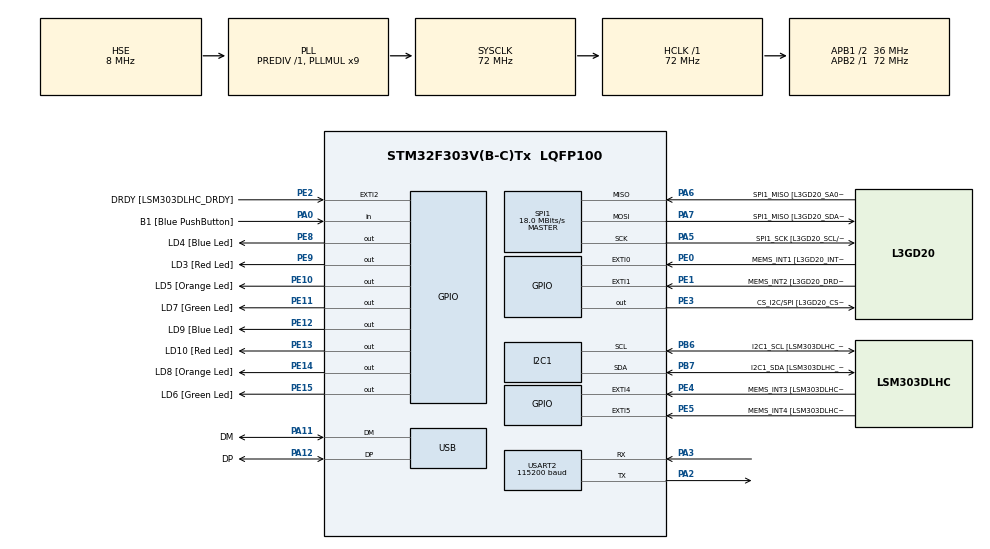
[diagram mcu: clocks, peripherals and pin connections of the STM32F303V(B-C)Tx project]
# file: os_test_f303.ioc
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Mcu.Family=STM32F3
PA6.Mode=Full_Duplex_Master
RCC.CortexFreq_Value=72000000
SPI1.VirtualType=VM_MASTER
PE11.GPIO_Label=LD7 [Green Led]
PA14.GPIO_Label=SWCLK
RCC.SYSCLKSourceVirtual=RCC_SYSCLKSOURCE_PLLCLK
PA0.GPIO_Label=B1 [Blue PushButton]
PA11.Mode=Device
PB6.GPIO_Label=I2C1_SCL [LSM303DLHC_SCL]
PA6.GPIO_Label=SPI1_MISO [L3GD20_SA0/SDO]
PC15-OSC32_OUT.GPIO_Label=OSC32_OUT
ProjectManager.StackSize=0x400
SPI1.Mode-Full_Duplex_Master=SPI_MODE_MASTER
PA12.Signal=USB_DP
SPI1.Direction=SPI_DIRECTION_2LINES
RCC.HCLKFreq_Value=72000000
RCC.APB2TimFreq_Value=72000000
PB6.Signal=I2C1_SCL
PB6.Mode=I2C
SPI1.CalculateBaudRate=18.0 MBits/s
PE5.Signal=GPXTI5
PE1.Signal=GPXTI1
RCC.AHBFreq_Value=72000000
RCC.HSE_VALUE=8000000
PF0-OSC_IN.GPIO_Label=OSC_IN
USART2.VirtualMode-Asynchronous=VM_ASYNC
RCC.PLLMUL=RCC_PLL_MUL9
PE13.Signal=GPIO_Output
PE9.Signal=GPIO_Output
PA14.Mode=Serial_Wire
PE4.GPIO_Label=MEMS_INT3 [LSM303DLHC_INT1]
PE2.Signal=GPXTI2
PB7.Signal=I2C1_SDA
PE10.Signal=GPIO_Output
PE4.Signal=GPXTI4
SPI1.CalculateBaudRate-Full_Duplex_Master=24.0 MBits/s
PA0.Signal=GPIO_Input
PB7.GPIO_Label=I2C1_SDA [LSM303DLHC_SDA]
Mcu.Package=LQFP100
PA6.Signal=SPI1_MISO
PE12.GPIO_Label=LD9 [Blue Led]
PE0.GPIO_Label=MEMS_INT1 [L3GD20_INT1]
RCC.APB1TimFreq_Value=72000000
PC14-OSC32_IN.GPIO_Label=OSC32_IN
TIM16.Prescaler=7200 - 1
PE10.GPIO_Label=LD5 [Orange Led]
SPI1.BaudRatePrescaler=SPI_BAUDRATEPRESCALER_4
PE2.GPIO_Label=DRDY [LSM303DLHC_DRDY]
PF1-OSC_OUT.Signal=RCC_OSC_OUT
PA3.Signal=USART2_RX
PA5.Mode=Full_Duplex_Master
PB3.GPIO_Label=SWO
PA7.Mode=Full_Duplex_Master
PE4.GPIO_ModeDefaultEXTI=GPIO_MODE_EVT_RISING
PA11.GPIO_Label=DM
PE14.GPIO_Label=LD8 [Orange Led]
VP_TIM16_VS_ClockSourceINT.Mode=Enable_Timer
PE1.GPIO_ModeDefaultEXTI=GPIO_MODE_EVT_RISING
RCC.APB1CLKDivider=RCC_HCLK_DIV2
PC14-OSC32_IN.Signal=RCC_OSC32_IN
NVIC.USART2_IRQn=true\:0\:0\:false\:false\:true\:true\:true
USART2.BaudRate=115200
PA12.GPIO_Label=DP
PA3.Mode=Asynchronous
PA13.Signal=SYS_JTMS-SWDIO
PE15.GPIO_Label=LD6 [Green Led]
ProjectManager.TargetToolchain=STM32CubeIDE
PE5.GPIO_ModeDefaultEXTI=GPIO_MODE_EVT_RISING
PE0.GPIO_ModeDefaultEXTI=GPIO_MODE_EVT_RISING
PE8.GPIO_Label=LD4 [Blue Led]
RCC.USBFreq_Value=48000000
PE11.Signal=GPIO_Output
RCC.LSE_VALUE=32768
PC15-OSC32_OUT.Signal=RCC_OSC32_OUT
PE9.GPIO_Label=LD3 [Red Led]
PF0-OSC_IN.Mode=HSE-External-Clock-Source
PA5.Signal=SPI1_SCK
board=STM32F3DISCOVERY
PE1.GPIO_Label=MEMS_INT2 [L3GD20_DRDY/INT2]
TIM16.Period=10 - 1
RCC.APB2Freq_Value=72000000
PE14.Signal=GPIO_Output
PE15.Signal=GPIO_Output
RCC.PRESCALERUSB=RCC_USBCLKSOURCE_PLL_DIV1_5
PE8.Signal=GPIO_Output
SPI1.Mode=SPI_MODE_MASTER
PF1-OSC_OUT.GPIO_Label=OSC_OUT
I2C1.Timing-I2C=0x2000090E
PA13.Mode=Serial_Wire
Mcu.Name=STM32F303V(B-C)Tx
PE0.Signal=GPXTI0
PE12.Signal=GPIO_Output
PA2.Signal=USART2_TX
PA13.GPIO_Label=SWDIO
PB3.Signal=SYS_JTDO-TRACESWO
RCC.SYSCLKFreq_VALUE=72000000
PA7.GPIO_Label=SPI1_MISO [L3GD20_SDA/SDI/SDO]
PE13.GPIO_Label=LD10 [Red Led]
PA12.Mode=Device
PA5.GPIO_Label=SPI1_SCK [L3GD20_SCL/SPC]
PE5.GPIO_Label=MEMS_INT4 [LSM303DLHC_INT2]
PB7.Mode=I2C
PA11.Signal=USB_DM
PA14.Signal=SYS_JTCK-SWCLK
ProjectManager.HeapSize=0x200
RCC.HSI_VALUE=8000000
NVIC.TIM1_UP_TIM16_IRQn=true\:0\:0\:false\:false\:true\:true\:true
NVIC.PriorityGroup=NVIC_PRIORITYGROUP_0
PE3.Signal=GPIO_Output
PA2.Mode=Asynchronous
PE3.GPIO_Label=CS_I2C/SPI [L3GD20_CS_I2C/SPI]
PE2.GPIO_ModeDefaultEXTI=GPIO_MODE_EVT_RISING
PF0-OSC_IN.Signal=RCC_OSC_IN
RCC.APB1Freq_Value=36000000
SPI1.BaudRatePrescaler-Full_Duplex_Master=SPI_BAUDRATEPRESCALER_2
PA7.Signal=SPI1_MOSI

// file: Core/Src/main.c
/* USER CODE BEGIN Header */
/**
  ******************************************************************************
  * @file           : main.c
  * @brief          : Main program body
  ******************************************************************************
  * @attention
  *
  * <h2><center>&copy; Copyright (c) 2021 STMicroelectronics.
  * All rights reserved.</center></h2>
  *
  * This software component is licensed by ST under BSD 3-Clause license,
  * the "License"; You may not use this file except in compliance with the
  * License. You may obtain a copy of the License at:
  *                        opensource.org/licenses/BSD-3-Clause
  *
  ******************************************************************************
  */
/* USER CODE END Header */
#include "main.h"

/* USER CODE BEGIN Includes */
#include "os.h"
/* USER CODE END Includes */

I2C_HandleTypeDef hi2c1;

SPI_HandleTypeDef hspi1;

TIM_HandleTypeDef htim16;

UART_HandleTypeDef huart2;

PCD_HandleTypeDef hpcd_USB_FS;

/* USER CODE BEGIN PV */

int32_t TaskSdata=0;

void TaskS(void){ // producer as event thread every 10 ms
  int i;
  int num = (TaskSdata%5)+1;

  for(i=0; i<num; i++)
  {
    OS_FIFO_Put(TaskSdata);  // TaskT can proceed
    TaskSdata++;
  }
}

int32_t TaskTexpected, TaskTactual, TaskTLostData;

void TaskT(void){ // consumer as main thread
  TaskTexpected = 0;
  TaskTLostData = 0;

  while(1)
  {
    TaskTactual = OS_FIFO_Get();  // signaled by Task S
    if(TaskTactual!= TaskTexpected)
    {
      TaskTLostData++;
      TaskTexpected = TaskTactual;
    }
    else
    {
      TaskTexpected++;
    }
  }
}

int32_t CountU=0;
int32_t sUV;

void TaskU(void){ // event thread every 100 ms
  CountU++;
  OS_Signal(&sUV);
}

int32_t CountV;

void TaskV(void){ // connected to TaskU
  CountV = 0;

  while(1)
  {
    OS_Wait(&sUV);
    CountV++;
  }
}

int32_t CountW;

void TaskW(void){ // sleeping 30 ms
  CountW = 0;
  while(1){
    CountW++;
    OS_Sleep(30);
  }
}

int32_t CountX;

void TaskX(void){ // sleeping 40 ms
  CountX = 0;
  while(1){
    CountX++;
    OS_Sleep(40);
  }
}

int32_t CountY;

void TaskY(void){ // sleeping 50 ms
  CountY = 0;
  while(1){
    CountY++;
    OS_Sleep(50);
  }
}

int32_t CountZ;

void TaskZ(void){ // dummy
  CountZ = 0;
  while(1){
    CountZ++;
  }
}

/* USER CODE END PV */

void SystemClock_Config(void);
static void MX_GPIO_Init(void);
static void MX_I2C1_Init(void);
static void MX_SPI1_Init(void);
static void MX_USB_PCD_Init(void);
static void MX_USART2_UART_Init(void);
static void MX_TIM16_Init(void);

int main(void)
{

  /* MCU Configuration--------------------------------------------------------*/

  /* Reset of all peripherals, Initializes the Flash interface and the Systick. */
  HAL_Init();

  /* USER CODE BEGIN Init */
  OS_Init();
  OS_FIFO_Init();
  /* USER CODE END Init */

  /* Configure the system clock */
  SystemClock_Config();

  /* Initialize all configured peripherals */
  MX_GPIO_Init();
  MX_I2C1_Init();
  MX_SPI1_Init();
  MX_USB_PCD_Init();
  MX_USART2_UART_Init();
  MX_TIM16_Init();
  /* USER CODE BEGIN 2 */
  HAL_TIM_Base_Start_IT(&htim16);

  OS_InitSemaphore(&sUV, 0);

  OS_AddThreads(&TaskT, &TaskV, &TaskW, &TaskX, &TaskY, &TaskZ);
  OS_AddPeriodicEventThread(&TaskS, 10);
  OS_AddPeriodicEventThread(&TaskU, 100);

  OS_Launch(SystemCoreClock / 1000U);
  /* USER CODE END 2 */

  /* Infinite loop */
  while (1)
  {

  }
}

void SystemClock_Config(void)
{
  RCC_OscInitTypeDef RCC_OscInitStruct = {0};
  RCC_ClkInitTypeDef RCC_ClkInitStruct = {0};
  RCC_PeriphCLKInitTypeDef PeriphClkInit = {0};

  /** Initializes the RCC Oscillators according to the specified parameters
  * in the RCC_OscInitTypeDef structure.
  */
  RCC_OscInitStruct.OscillatorType = RCC_OSCILLATORTYPE_HSI|RCC_OSCILLATORTYPE_HSE;
  RCC_OscInitStruct.HSEState = RCC_HSE_BYPASS;
  RCC_OscInitStruct.HSEPredivValue = RCC_HSE_PREDIV_DIV1;
  RCC_OscInitStruct.HSIState = RCC_HSI_ON;
  RCC_OscInitStruct.HSICalibrationValue = RCC_HSICALIBRATION_DEFAULT;
  RCC_OscInitStruct.PLL.PLLState = RCC_PLL_ON;
  RCC_OscInitStruct.PLL.PLLSource = RCC_PLLSOURCE_HSE;
  RCC_OscInitStruct.PLL.PLLMUL = RCC_PLL_MUL9;
  if (HAL_RCC_OscConfig(&RCC_OscInitStruct) != HAL_OK)
  {
    Error_Handler();
  }
  /** Initializes the CPU, AHB and APB buses clocks
  */
  RCC_ClkInitStruct.ClockType = RCC_CLOCKTYPE_HCLK|RCC_CLOCKTYPE_SYSCLK
                              |RCC_CLOCKTYPE_PCLK1|RCC_CLOCKTYPE_PCLK2;
  RCC_ClkInitStruct.SYSCLKSource = RCC_SYSCLKSOURCE_PLLCLK;
  RCC_ClkInitStruct.AHBCLKDivider = RCC_SYSCLK_DIV1;
  RCC_ClkInitStruct.APB1CLKDivider = RCC_HCLK_DIV2;
  RCC_ClkInitStruct.APB2CLKDivider = RCC_HCLK_DIV1;

  if (HAL_RCC_ClockConfig(&RCC_ClkInitStruct, FLASH_LATENCY_2) != HAL_OK)
  {
    Error_Handler();
  }
  PeriphClkInit.PeriphClockSelection = RCC_PERIPHCLK_USB|RCC_PERIPHCLK_USART2
                              |RCC_PERIPHCLK_I2C1;
  PeriphClkInit.Usart2ClockSelection = RCC_USART2CLKSOURCE_PCLK1;
  PeriphClkInit.I2c1ClockSelection = RCC_I2C1CLKSOURCE_HSI;
  PeriphClkInit.USBClockSelection = RCC_USBCLKSOURCE_PLL_DIV1_5;
  if (HAL_RCCEx_PeriphCLKConfig(&PeriphClkInit) != HAL_OK)
  {
    Error_Handler();
  }
}

static void MX_I2C1_Init(void)
{

  hi2c1.Instance = I2C1;
  hi2c1.Init.Timing = 0x2000090E;
  hi2c1.Init.OwnAddress1 = 0;
  hi2c1.Init.AddressingMode = I2C_ADDRESSINGMODE_7BIT;
  hi2c1.Init.DualAddressMode = I2C_DUALADDRESS_DISABLE;
  hi2c1.Init.OwnAddress2 = 0;
  hi2c1.Init.OwnAddress2Masks = I2C_OA2_NOMASK;
  hi2c1.Init.GeneralCallMode = I2C_GENERALCALL_DISABLE;
  hi2c1.Init.NoStretchMode = I2C_NOSTRETCH_DISABLE;
  if (HAL_I2C_Init(&hi2c1) != HAL_OK)
  {
    Error_Handler();
  }
  /** Configure Analogue filter
  */
  if (HAL_I2CEx_ConfigAnalogFilter(&hi2c1, I2C_ANALOGFILTER_ENABLE) != HAL_OK)
  {
    Error_Handler();
  }
  /** Configure Digital filter
  */
  if (HAL_I2CEx_ConfigDigitalFilter(&hi2c1, 0) != HAL_OK)
  {
    Error_Handler();
  }

}

static void MX_SPI1_Init(void)
{

  /* SPI1 parameter configuration*/
  hspi1.Instance = SPI1;
  hspi1.Init.Mode = SPI_MODE_MASTER;
  hspi1.Init.Direction = SPI_DIRECTION_2LINES;
  hspi1.Init.DataSize = SPI_DATASIZE_4BIT;
  hspi1.Init.CLKPolarity = SPI_POLARITY_LOW;
  hspi1.Init.CLKPhase = SPI_PHASE_1EDGE;
  hspi1.Init.NSS = SPI_NSS_SOFT;
  hspi1.Init.BaudRatePrescaler = SPI_BAUDRATEPRESCALER_4;
  hspi1.Init.FirstBit = SPI_FIRSTBIT_MSB;
  hspi1.Init.TIMode = SPI_TIMODE_DISABLE;
  hspi1.Init.CRCCalculation = SPI_CRCCALCULATION_DISABLE;
  hspi1.Init.CRCPolynomial = 7;
  hspi1.Init.CRCLength = SPI_CRC_LENGTH_DATASIZE;
  hspi1.Init.NSSPMode = SPI_NSS_PULSE_ENABLE;
  if (HAL_SPI_Init(&hspi1) != HAL_OK)
  {
    Error_Handler();
  }

}

static void MX_TIM16_Init(void)
{

  htim16.Instance = TIM16;
  htim16.Init.Prescaler = 7200 - 1;
  htim16.Init.CounterMode = TIM_COUNTERMODE_UP;
  htim16.Init.Period = 10 - 1;
  htim16.Init.ClockDivision = TIM_CLOCKDIVISION_DIV1;
  htim16.Init.RepetitionCounter = 0;
  htim16.Init.AutoReloadPreload = TIM_AUTORELOAD_PRELOAD_DISABLE;
  if (HAL_TIM_Base_Init(&htim16) != HAL_OK)
  {
    Error_Handler();
  }

}

static void MX_USART2_UART_Init(void)
{

  huart2.Instance = USART2;
  huart2.Init.BaudRate = 115200;
  huart2.Init.WordLength = UART_WORDLENGTH_8B;
  huart2.Init.StopBits = UART_STOPBITS_1;
  huart2.Init.Parity = UART_PARITY_NONE;
  huart2.Init.Mode = UART_MODE_TX_RX;
  huart2.Init.HwFlowCtl = UART_HWCONTROL_NONE;
  huart2.Init.OverSampling = UART_OVERSAMPLING_16;
  huart2.Init.OneBitSampling = UART_ONE_BIT_SAMPLE_DISABLE;
  huart2.AdvancedInit.AdvFeatureInit = UART_ADVFEATURE_NO_INIT;
  if (HAL_UART_Init(&huart2) != HAL_OK)
  {
    Error_Handler();
  }

}

static void MX_USB_PCD_Init(void)
{

  hpcd_USB_FS.Instance = USB;
  hpcd_USB_FS.Init.dev_endpoints = 8;
  hpcd_USB_FS.Init.speed = PCD_SPEED_FULL;
  hpcd_USB_FS.Init.phy_itface = PCD_PHY_EMBEDDED;
  hpcd_USB_FS.Init.low_power_enable = DISABLE;
  hpcd_USB_FS.Init.battery_charging_enable = DISABLE;
  if (HAL_PCD_Init(&hpcd_USB_FS) != HAL_OK)
  {
    Error_Handler();
  }

}

static void MX_GPIO_Init(void)
{
  GPIO_InitTypeDef GPIO_InitStruct = {0};

  /* GPIO Ports Clock Enable */
  __HAL_RCC_GPIOE_CLK_ENABLE();
  __HAL_RCC_GPIOC_CLK_ENABLE();
  __HAL_RCC_GPIOF_CLK_ENABLE();
  __HAL_RCC_GPIOA_CLK_ENABLE();
  __HAL_RCC_GPIOB_CLK_ENABLE();

  /*Configure GPIO pin Output Level */
  HAL_GPIO_WritePin(GPIOE, CS_I2C_SPI_Pin|LD4_Pin|LD3_Pin|LD5_Pin
                          |LD7_Pin|LD9_Pin|LD10_Pin|LD8_Pin
                          |LD6_Pin, GPIO_PIN_RESET);

  /*Configure GPIO pins : DRDY_Pin MEMS_INT3_Pin MEMS_INT4_Pin MEMS_INT1_Pin
                           MEMS_INT2_Pin */
  GPIO_InitStruct.Pin = DRDY_Pin|MEMS_INT3_Pin|MEMS_INT4_Pin|MEMS_INT1_Pin
                          |MEMS_INT2_Pin;
  GPIO_InitStruct.Mode = GPIO_MODE_EVT_RISING;
  GPIO_InitStruct.Pull = GPIO_NOPULL;
  HAL_GPIO_Init(GPIOE, &GPIO_InitStruct);

  /*Configure GPIO pins : CS_I2C_SPI_Pin LD4_Pin LD3_Pin LD5_Pin
                           LD7_Pin LD9_Pin LD10_Pin LD8_Pin
                           LD6_Pin */
  GPIO_InitStruct.Pin = CS_I2C_SPI_Pin|LD4_Pin|LD3_Pin|LD5_Pin
                          |LD7_Pin|LD9_Pin|LD10_Pin|LD8_Pin
                          |LD6_Pin;
  GPIO_InitStruct.Mode = GPIO_MODE_OUTPUT_PP;
  GPIO_InitStruct.Pull = GPIO_NOPULL;
  GPIO_InitStruct.Speed = GPIO_SPEED_FREQ_LOW;
  HAL_GPIO_Init(GPIOE, &GPIO_InitStruct);

  /*Configure GPIO pin : B1_Pin */
  GPIO_InitStruct.Pin = B1_Pin;
  GPIO_InitStruct.Mode = GPIO_MODE_INPUT;
  GPIO_InitStruct.Pull = GPIO_NOPULL;
  HAL_GPIO_Init(B1_GPIO_Port, &GPIO_InitStruct);

}

void Error_Handler(void)
{
}

/************************ (C) COPYRIGHT STMicroelectronics *****END OF FILE****/
